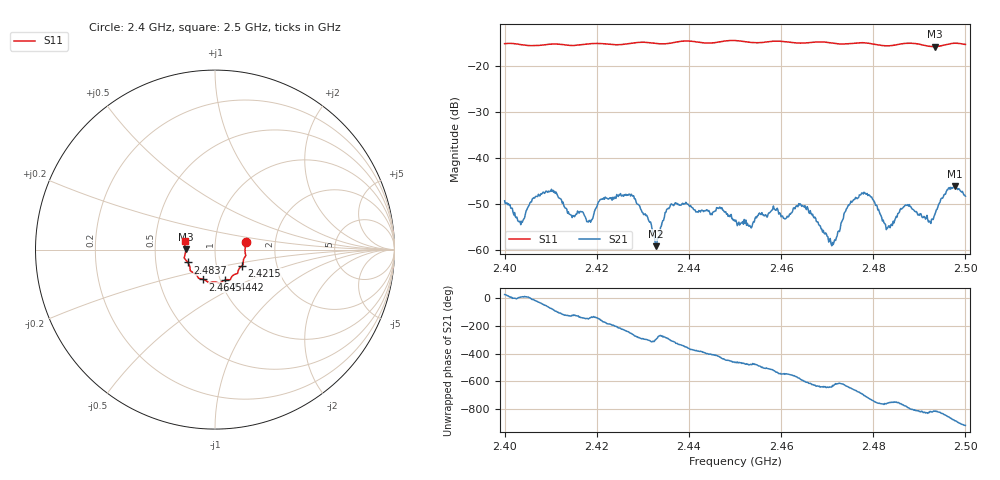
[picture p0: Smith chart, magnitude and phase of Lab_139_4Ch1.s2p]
# Hz S RI R 50
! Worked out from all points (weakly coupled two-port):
!   601 points, 2.4 GHz to 2.5 GHz, reference 50 ohm
!   highest |S21| = -46.11 dB at 2.4977 GHz (marker M1); lowest = -59.1 dB at 2.4328 GHz (marker M2)
!   lowest |S11| = -15.7 dB at 2.4933 GHz (marker M3), VSWR 1.39, Z = 35.9 + j0.104 ohm
!   |S11| at or under -10 dB: start of sweep to end of sweep
!   S12 and S22 are empty: the file has one direction only
!   S11 on the Smith chart (normalised r, x): 2.4 GHz: 1.41, +0.12; 2.4215 GHz: 1.33, -0.25; 2.4442 GHz: 1.05, -0.37; 2.4645 GHz: 0.83, -0.29; 2.4837 GHz: 0.73, -0.11; 2.5 GHz: 0.71, +0.07
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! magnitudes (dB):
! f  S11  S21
! 2.4 GHz  -15.1  -49.3
! 2.4033 GHz  -15.3  -53.7
! 2.41 GHz  -15.2  -47.2
! 2.4167 GHz  -15.3  -51.7
! 2.4185 GHz  -15.1  -53.5
! 2.4215 GHz  -15.1  -48.6
! 2.4275 GHz  -15.0  -47.8
! 2.4328 GHz  -15.0  -59.1
! 2.4333 GHz  -15.1  -57.4
! 2.4365 GHz  -14.9  -50.1
! 2.4442 GHz  -15.0  -51.5
! 2.45 GHz  -14.4  -53.7
! 2.4645 GHz  -15.0  -50.5
! 2.4667 GHz  -14.8  -52.3
! 2.4713 GHz  -15.0  -58.8
! 2.4782 GHz  -14.9  -47.5
! 2.4833 GHz  -15.6  -54.7
! 2.4837 GHz  -15.5  -55.1
! 2.4873 GHz  -15.0  -50.2
! 2.4933 GHz  -15.7  -52.3
! 2.4977 GHz  -15.0  -46.1
! 2.5 GHz  -15.3  -48.3
